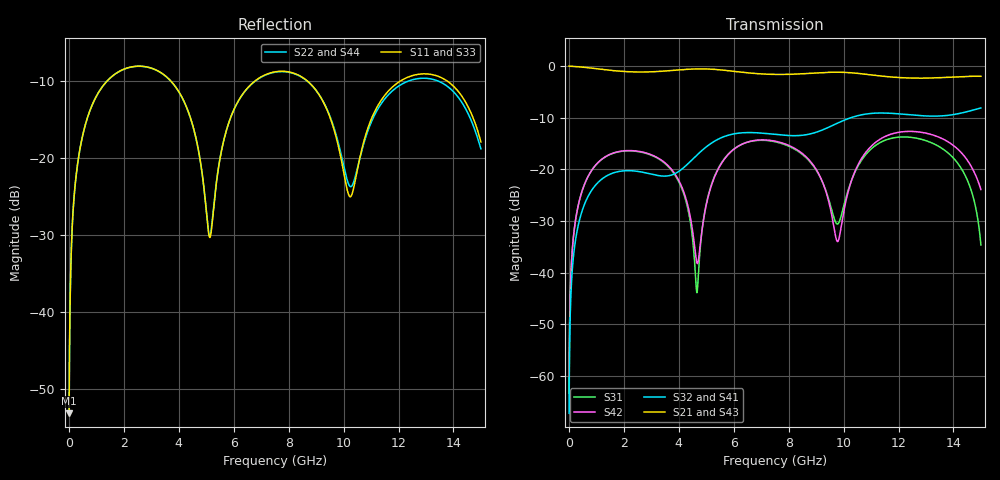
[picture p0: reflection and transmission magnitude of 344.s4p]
! Created with skrf 1.8.0 (http://scikit-rf.org).
# GHz S RI R 50.0
!freq ReS11 ImS11 ReS12 ImS12 ReS13 ImS13
! ReS14 ImS14
! ReS21 ImS21 ReS22 ImS22 ReS23 ImS23
! ReS24 ImS24
! ReS31 ImS31 ReS32 ImS32 ReS33 ImS33
! ReS34 ImS34
! ReS41 ImS41 ReS42 ImS42 ReS43 ImS43
! ReS44 ImS44
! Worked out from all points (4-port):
!   2499 points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, 5 MHz to 15 GHz, reference 50 ohm
!   strongest paths, dB at 5 MHz, 3.476 GHz, 7.19 GHz, 11.1 GHz, 15 GHz:
!     S21: 0.0, -1.0, -1.6, -1.8, -2.0
!     S43: 0.0, -1.0, -1.6, -1.8, -2.0
!     S32: -67.2, -21.3, -13.1, -9.1, -8.1
!     S41: -67.2, -21.3, -13.1, -9.1, -8.1
!     S42: -63.3, -18.6, -14.3, -15.1, -23.9
!     S31: -63.3, -18.8, -14.4, -15.6, -34.6
!   lowest |S11| = -53.2 dB at 5 MHz (marker M1), VSWR 1.00, Z = 50.2 + j0.134 ohm
!   |S11| at or under -10 dB: start of sweep to 1.386 GHz; 3.71 GHz to 6.769 GHz (3.059 GHz wide, 58.4 % of centre); 8.685 GHz to 12.06 GHz (3.38 GHz wide, 32.6 % of centre) (the widest 3 of 4)
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0.005  0.00175 0.00133  0.9982 -0.00341  8.77e-05 0.000678  -8.52e-05 -0.000428
       0.9982 -0.00341  0.00175 0.00133  -8.52e-05 -0.000428  8.77e-05 0.000678
       8.77e-05 0.000678  -8.52e-05 -0.000428  0.00175 0.00133  0.9982 -0.00341
       -8.52e-05 -0.000428  8.77e-05 0.000678  0.9982 -0.00341  0.00175 0.00133
0.3626511  0.0338 0.0991  0.9534 -0.2429  0.0157 0.0454  -0.0131 -0.0279
           0.9534 -0.2429  0.0337 0.0991  -0.0132 -0.0279  0.0159 0.0453
           0.0157 0.0454  -0.0132 -0.0279  0.0338 0.0991  0.9534 -0.2429
           -0.0131 -0.0279  0.0159 0.0453  0.9534 -0.2429  0.0337 0.0991
1.675698  0.3146 0.1559  0.4463 -0.7826  0.1378 0.0457  -0.0929 0.0105
          0.4463 -0.7826  0.314 0.1566  -0.093 0.0106  0.1393 0.0431
          0.1378 0.0457  -0.093 0.0106  0.3146 0.156  0.4464 -0.7826
          -0.0929 0.0105  0.1393 0.0431  0.4464 -0.7826  0.314 0.1565
4.658191  0.0609 -0.1111  -0.8756 -0.3402  -0.0063 -0.00117  -0.0461 0.1296
          -0.8756 -0.3402  0.062 -0.1096  -0.0454 0.1299  -0.0118 -0.00396
          -0.0063 -0.00117  -0.0454 0.1299  0.0601 -0.1111  -0.8756 -0.3402
          -0.0461 0.1296  -0.0118 -0.00396  -0.8756 -0.3402  0.0627 -0.1091
7.865777  0.3645 -0.0279  -0.0356 0.8297  0.156 -0.0761  0.2039 -0.0595
          -0.0356 0.8297  0.3629 -0.0209  0.2046 -0.0619  0.1571 -0.0806
          0.156 -0.0761  0.2046 -0.0619  0.364 -0.024  -0.036 0.8297
          0.2039 -0.0595  0.1571 -0.0806  -0.036 0.8297  0.3635 -0.0245
10.61692  0.0794 0.0689  0.8426 -0.0573  0.0411 0.1111  -0.0413 -0.3337
          0.8426 -0.0573  0.0848 0.0604  -0.0457 -0.3329  0.0614 0.1063
          0.0411 0.1111  -0.0457 -0.3329  0.0825 0.0681  0.8427 -0.0566
          -0.0413 -0.3337  0.0614 0.1063  0.8427 -0.0566  0.0815 0.0608
15  0.0804 -0.0989  -0.6877 -0.403  -0.00467 -0.018  -0.1911 0.3438
    -0.6877 -0.403  0.0947 -0.065  -0.1837 0.3479  -0.0372 -0.052
    -0.00467 -0.018  -0.1837 0.3479  0.0877 -0.0976  -0.6864 -0.4051
    -0.1911 0.3438  -0.0372 -0.052  -0.6864 -0.4051  0.0896 -0.0708
